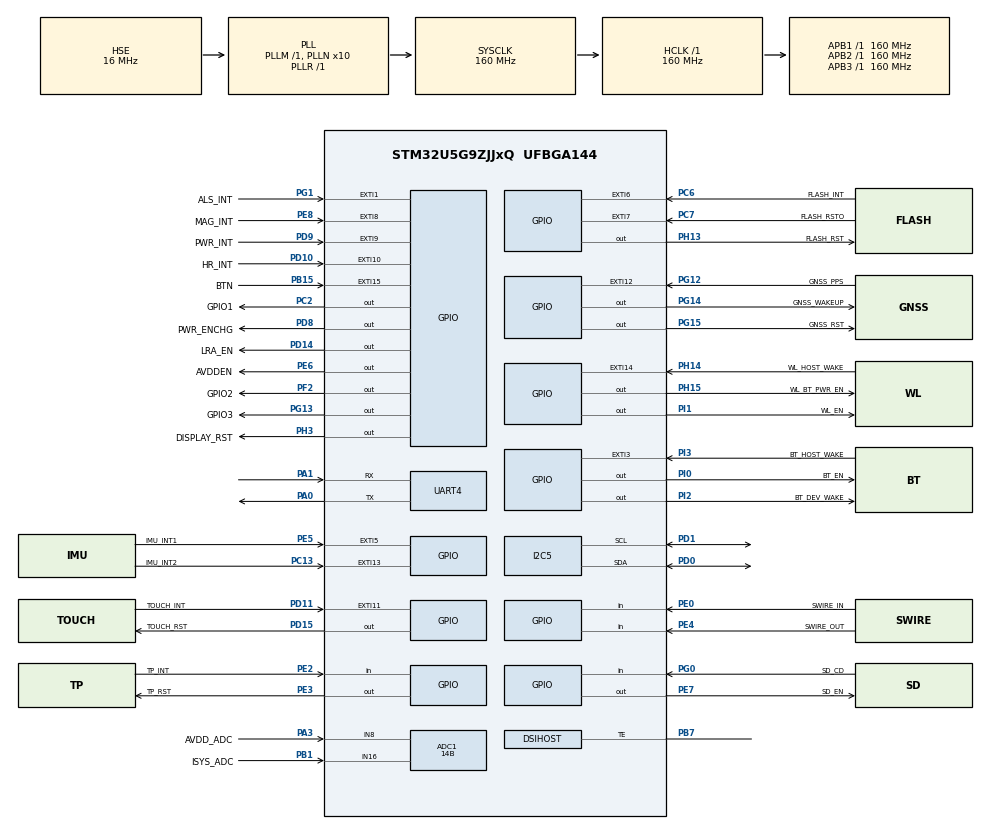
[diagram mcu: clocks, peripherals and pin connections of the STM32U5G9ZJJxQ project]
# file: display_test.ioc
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ADC1.Channel-0\#ChannelRegularConversion=ADC_CHANNEL_8
ADC1.ClockPrescaler=ADC_CLOCK_ASYNC_DIV128
ADC1.ContinuousConvMode=ENABLE
ADC1.ConversionDataManagement=ADC_CONVERSIONDATA_DMA_CIRCULAR
ADC1.DMAContinuousRequests=ENABLE
ADC1.MonitoredBy-0\#ChannelRegularConversion=__NULL
ADC1.NbrOfConversion=1
ADC1.NbrOfConversionFlag=1
ADC1.OffsetNumber-0\#ChannelRegularConversion=ADC_OFFSET_NONE
ADC1.Rank-0\#ChannelRegularConversion=1
ADC1.Resolution=ADC_RESOLUTION_14B
ADC1.SamplingTime-0\#ChannelRegularConversion=ADC_SAMPLETIME_68CYCLES
ADC1.master=1
CORTEX_M33_NS.userName=CORTEX_M33
DSIHOST.AutomaticClockLaneControl=DSI_AUTO_CLK_LANE_CTRL_DISABLE
DSIHOST.AutomaticRefresh=DSI_AR_DISABLE
DSIHOST.BTATimeout=20
DSIHOST.CommandSize=416
DSIHOST.HighSpeedReadTimeout=20
DSIHOST.HighSpeedTransmissionTimeout=20
DSIHOST.HighSpeedWriteTimeout=20
DSIHOST.LPDcsLongWrite=DSI_LP_DLW_ENABLE
DSIHOST.LPDcsShortReadNoP=DSI_LP_DSR0P_ENABLE
DSIHOST.LPDcsShortWriteNoP=DSI_LP_DSW0P_ENABLE
DSIHOST.LPDcsShortWriteOneP=DSI_LP_DSW1P_ENABLE
DSIHOST.LPGenLongWrite=DSI_LP_GLW_ENABLE
DSIHOST.LPGenShortReadNoP=DSI_LP_GSR0P_ENABLE
DSIHOST.LPGenShortReadOneP=DSI_LP_GSR1P_ENABLE
DSIHOST.LPGenShortReadTwoP=DSI_LP_GSR2P_ENABLE
DSIHOST.LPGenShortWriteNoP=DSI_LP_GSW0P_ENABLE
DSIHOST.LPGenShortWriteOneP=DSI_LP_GSW1P_ENABLE
DSIHOST.LPGenShortWriteTwoP=DSI_LP_GSW2P_ENABLE
DSIHOST.LPMaxReadPacket=DSI_LP_MRDP_ENABLE
DSIHOST.LowPowerReadTimeout=20
DSIHOST.LowPowerReceptionTimeout=20
DSIHOST.LowPowerWriteTimeout=20
DSIHOST.NumberOfLanes=DSI_ONE_DATA_LANE
DSIHOST.PHYFrequencyRange=DSI_DPHY_FRANGE_450MHZ_510MHZ
DSIHOST.PHYLowPowerOffset=PHY_LP_OFFSSET_0_CLKP
DSIHOST.PLLChargePump=DSI_PLL_CHARGE_PUMP_2000HZ_4400HZ
DSIHOST.PLLTuning=DSI_PLL_LOOP_FILTER_2000HZ_4400HZ
DSIHOST.PLLVCORange=DSI_DPHY_VCO_FRANGE_800MHZ_1GHZ
DSIHOST.StopWaitTime=10
DSIHOST.TimeoutCkdiv=1
DSI_CKN.Mode=DSIHost_Adapted_TE
DSI_CKN.PinAttribute=Free
DSI_CKN.Signal=DSIHOST_CKN
DSI_CKP.Mode=DSIHost_Adapted_TE
DSI_CKP.PinAttribute=Free
DSI_CKP.Signal=DSIHOST_CKP
DSI_D0N.Mode=DSIHost_Adapted_TE
DSI_D0N.PinAttribute=Free
DSI_D0N.Signal=DSIHOST_D0N
DSI_D0P.Mode=DSIHost_Adapted_TE
DSI_D0P.PinAttribute=Free
DSI_D0P.Signal=DSIHOST_D0P
DSI_D1N.Mode=DSIHost_Adapted_TE
DSI_D1N.PinAttribute=Free
DSI_D1N.Signal=DSIHOST_D1N
DSI_D1P.Mode=DSIHost_Adapted_TE
DSI_D1P.PinAttribute=Free
DSI_D1P.Signal=DSIHOST_D1P
GPDMA1.CIRCULARMODE_GPDMACH0=ENABLE
GPDMA1.DESTDATAWIDTH_GPDMACH0=DMA_DEST_DATAWIDTH_HALFWORD
GPDMA1.IPHANDLE_GPDMACH0-SIMPLEREQUEST_GPDMACH0=__NULL
GPDMA1.REQUEST_GPDMACH0=GPDMA1_REQUEST_ADC1
GPDMA1.SRCDATAWIDTH_GPDMACH0=DMA_SRC_DATAWIDTH_HALFWORD
GPDMA1.TRANSFERALLOCATEDPORTDEST_GPDMACH0=DMA_DEST_ALLOCATED_PORT1
I2C5.Timing=0x30909DEC
LTDC.ActiveH=416
LTDC.ActiveW=416
LTDC.Alpha0_L0=255
LTDC.Alpha_L0=255
LTDC.Blue=0
LTDC.Blue_L0=0
LTDC.FBStartAdress_L0=framebuf
LTDC.Green=0
LTDC.Green_L0=0
LTDC.HBP=0
LTDC.HFP=0
LTDC.HSync=1
LTDC.ImageHeight_L0=416
LTDC.ImageWidth_L0=416
LTDC.Layers=0
LTDC.Red=255
LTDC.Red_L0=0
LTDC.VBP=0
LTDC.VFP=0
LTDC.VSync=1
LTDC.WindowX1_L0=416
LTDC.WindowY1_L0=416
Mcu.Family=STM32U5
Mcu.Name=STM32U5G9ZJJxQ
Mcu.Package=UFBGA144
NVIC.ADC1_2_IRQn=true\:0\:0\:false\:false\:true\:true\:true\:true
NVIC.DSI_IRQn=true\:0\:0\:false\:false\:true\:true\:true\:true
NVIC.GPDMA1_Channel0_IRQn=true\:0\:0\:false\:false\:true\:false\:true\:true
NVIC.LTDC_IRQn=true\:0\:0\:false\:false\:true\:true\:true\:true
NVIC.PriorityGroup=NVIC_PRIORITYGROUP_4
NVIC.RCC_IRQn=true\:0\:0\:false\:false\:true\:true\:false\:true
NVIC.TIM6_IRQn=true\:15\:0\:false\:false\:true\:false\:true\:true
NVIC.TimeBase=TIM6_IRQn
NVIC.TimeBaseIP=TIM6
PA0.Mode=Asynchronous
PA0.PinAttribute=Free
PA0.Signal=UART4_TX
PA1.Mode=Asynchronous
PA1.PinAttribute=Free
PA1.Signal=UART4_RX
PA11.Signal=USB_OTG_HS_DM
PA12.Signal=USB_OTG_HS_DP
PA13\ (JTMS/SWDIO).Mode=Serial_Wire
PA13\ (JTMS/SWDIO).Signal=DEBUG_JTMS-SWDIO
PA14\ (JTCK/SWCLK).Mode=Serial_Wire
PA14\ (JTCK/SWCLK).Signal=DEBUG_JTCK-SWCLK
PA15\ (JTDI).Signal=USART2_RX
PA2.Mode=Clock-out-LSCO
PA2.Signal=RCC_LSCO
PA3.GPIO_Label=AVDD_ADC
PA3.Mode=IN8-Single-Ended
PA3.Signal=ADC1_IN8
PA4.GPIO_Label=ELVDD_ADC
PA4.Signal=ADC1_IN9
PA5.PinAttribute=Free
PA5.Signal=SPI1_SCK
PA6.Signal=SPI1_MISO
PA7.Signal=SPI1_MOSI
PA8.Signal=SDMMC2_D1
PB0.PinAttribute=Free
PB0.Signal=SPI1_NSS
PB1.GPIO_Label=ISYS_ADC
PB1.Mode=IN16-Single-Ended
PB1.Signal=ADC1_IN16
PB10.Signal=OCTOSPIM_P1_CLK
PB11.PinAttribute=Free
PB11.Signal=I2C2_SDA
PB13.Signal=I2C2_SCL
PB14.PinAttribute=Free
PB14.Signal=SDMMC2_D0
PB15.GPIO_Label=BTN
PB15.Signal=GPXTI15
PB2.PinAttribute=Free
PB2.Signal=OCTOSPIM_P1_DQS
PB3\ (JTDO/TRACESWO).Signal=SDMMC2_D2
PB4\ (NJTRST).PinAttribute=Free
PB4\ (NJTRST).Signal=SDMMC2_D3
PB5.Signal=OCTOSPIM_P1_NCLK
PB6.PinAttribute=Free
PB6.Signal=I2C1_SCL
PB7.Mode=DSIHost_Adapted_TE
PB7.Signal=DSIHOST_TE
PB8.Signal=SDMMC1_CKIN
PB9.Signal=I2C1_SDA
PC0.PinAttribute=Free
PC0.Signal=I2C3_SCL
PC1.PinAttribute=Free
PC1.Signal=I2C3_SDA
PC10.Signal=SDMMC1_D2
PC11.Signal=SDMMC1_D3
PC12.PinAttribute=Free
PC12.Signal=SDMMC1_CK
PC13.GPIO_Label=IMU_INT2
PC13.PinAttribute=Free
PC13.Signal=GPXTI13
PC14-OSC32_IN\ (PC14).Mode=LSE-External-Oscillator
PC14-OSC32_IN\ (PC14).Signal=RCC_OSC32_IN
PC15-OSC32_OUT\ (PC15).Mode=LSE-External-Oscillator
PC15-OSC32_OUT\ (PC15).Signal=RCC_OSC32_OUT
PC2.GPIO_Label=GPIO1
PC2.PinAttribute=Free
PC2.Signal=GPIO_Output
PC3.GPIO_Label=ELVSS_ADC
PC3.Signal=ADC1_IN4
PC6.GPIO_Label=FLASH_INT
PC6.PinAttribute=Free
PC6.Signal=GPXTI6
PC7.GPIO_Label=FLASH_RSTO
PC7.PinAttribute=Free
PC7.Signal=GPXTI7
PC8.Signal=SDMMC1_D0
PC9.PinAttribute=Free
PC9.Signal=SDMMC1_D1
PD0.Mode=I2C
PD0.Signal=I2C5_SDA
PD1.Mode=I2C
PD1.PinAttribute=Free
PD1.Signal=I2C5_SCL
PD10.GPIO_Label=HR_INT
PD10.PinAttribute=Free
PD10.Signal=GPXTI10
PD11.GPIO_Label=TOUCH_INT
PD11.PinAttribute=Free
PD11.Signal=GPXTI11
PD12.Signal=I2C4_SCL
PD13.Signal=I2C4_SDA
PD14.GPIO_Label=LRA_EN
PD14.Signal=GPIO_Output
PD15.GPIO_Label=TOUCH_RST
PD15.GPIO_ModeDefaultOutputPP=GPIO_MODE_OUTPUT_OD
PD15.GPIO_PuPd=GPIO_NOPULL
PD15.PinAttribute=Free
PD15.Signal=GPIO_Output
PD2.Signal=SDMMC1_CMD
PD3.PinAttribute=Free
PD3.Signal=USART2_CTS
PD4.Signal=USART2_RTS
PD5.Signal=USART2_TX
PD6.Signal=SDMMC2_CK
PD7.PinAttribute=Free
PD7.Signal=SDMMC2_CMD
PD8.GPIO_Label=PWR_ENCHG
PD8.Signal=GPIO_Output
PD9.GPIO_Label=PWR_INT
PD9.Signal=GPXTI9
PE0.GPIO_Label=SWIRE_IN
PE0.PinAttribute=Free
PE0.Signal=GPIO_Input
PE10.PinAttribute=Free
PE10.Signal=ADF1_SDI0
PE11.Signal=OCTOSPIM_P1_NCS
PE12.PinAttribute=Free
PE12.Signal=OCTOSPIM_P1_IO0
PE13.Signal=OCTOSPIM_P1_IO1
PE14.PinAttribute=Free
PE14.Signal=OCTOSPIM_P1_IO2
PE15.Signal=OCTOSPIM_P1_IO3
PE2.GPIO_Label=TP_INT
PE2.Signal=GPIO_Input
PE3.GPIO_Label=TP_RST
PE3.PinAttribute=Free
PE3.Signal=GPIO_Output
PE4.GPIO_Label=SWIRE_OUT
PE4.GPIO_PuPd=GPIO_PULLDOWN
PE4.Signal=GPIO_Input
PE5.GPIO_Label=IMU_INT1
PE5.Signal=GPXTI5
PE6.GPIO_Label=AVDDEN
PE6.Signal=GPIO_Output
PE7.GPIO_Label=SD_EN
PE7.Signal=GPIO_Output
PE8.GPIO_Label=MAG_INT
PE8.PinAttribute=Free
PE8.Signal=GPXTI8
PE9.PinAttribute=Free
PE9.Signal=ADF1_CCK0
PF0.PinAttribute=Free
PF0.Signal=I2C6_SDA
PF1.PinAttribute=Free
PF1.Signal=I2C6_SCL
PF2.GPIO_Label=GPIO2
PF2.PinAttribute=Free
PF2.Signal=GPIO_Output
PG0.GPIO_Label=SD_CD
PG0.PinAttribute=Free
PG0.Signal=GPIO_Input
PG1.GPIO_Label=ALS_INT
PG1.PinAttribute=Free
PG1.Signal=GPXTI1
PG10.PinAttribute=Free
PG10.Signal=USART1_RX
PG12.GPIO_Label=GNSS_PPS
PG12.PinAttribute=Free
PG12.Signal=GPXTI12
PG13.GPIO_Label=GPIO3
PG13.Signal=GPIO_Output
PG14.GPIO_Label=GNSS_WAKEUP
PG14.PinAttribute=Free
PG14.Signal=GPIO_Output
PG15.GPIO_Label=GNSS_RST
PG15.Signal=GPIO_Output
PG9.Signal=USART1_TX
PH0-OSC_IN\ (PH0).Mode=HSE-External-Oscillator
PH0-OSC_IN\ (PH0).PinAttribute=Free
PH0-OSC_IN\ (PH0).Signal=RCC_OSC_IN
PH1-OSC_OUT\ (PH1).Mode=HSE-External-Oscillator
PH1-OSC_OUT\ (PH1).PinAttribute=Free
PH1-OSC_OUT\ (PH1).Signal=RCC_OSC_OUT
PH10.PinAttribute=Free
PH10.Signal=OCTOSPIM_P2_IO5
PH11.PinAttribute=Free
PH11.Signal=OCTOSPIM_P2_IO6
PH12.PinAttribute=Free
PH12.Signal=OCTOSPIM_P2_IO7
PH13.GPIO_Label=FLASH_RST
PH13.PinAttribute=Free
PH13.Signal=GPIO_Output
PH14.GPIO_Label=WL_HOST_WAKE
PH14.PinAttribute=Free
PH14.Signal=GPXTI14
PH15.GPIO_Label=WL_BT_PWR_EN
PH15.PinAttribute=Free
PH15.Signal=GPIO_Output
PH3-BOOT0.GPIO_Label=DISPLAY_RST
PH3-BOOT0.PinAttribute=Free
PH3-BOOT0.Signal=GPIO_Output
PH9.Signal=OCTOSPIM_P2_IO4
PI0.GPIO_Label=BT_EN
PI0.PinAttribute=Free
PI0.Signal=GPIO_Output
PI1.GPIO_Label=WL_EN
PI1.PinAttribute=Free
PI1.Signal=GPIO_Output
PI2.GPIO_Label=BT_DEV_WAKE
PI2.PinAttribute=Free
PI2.Signal=GPIO_Output
PI3.GPIO_Label=BT_HOST_WAKE
PI3.PinAttribute=Free
PI3.Signal=GPXTI3
PWR.PowerMode=PWR_SMPS_SUPPLY
ProjectManager.HeapSize=0x200
ProjectManager.StackSize=0x400
ProjectManager.TargetToolchain=STM32CubeIDE
RCC.ADCFreq_Value=16000000
RCC.AHBFreq_Value=160000000
RCC.APB1Freq_Value=160000000
RCC.APB1TimFreq_Value=160000000
RCC.APB2Freq_Value=160000000
RCC.APB2TimFreq_Value=160000000
RCC.APB3Freq_Value=160000000
RCC.CortexFreq_Value=160000000
RCC.DSICLockSelection=RCC_DSICLKSOURCE_PLL3
RCC.EPOD_VALUE=16000000
RCC.EnableCSSLSE=true
RCC.EnbaleCSS=true
RCC.HCLKFreq_Value=160000000
RCC.HSE_VALUE=16000000
RCC.HSI48_VALUE=48000000
RCC.HSI_VALUE=16000000
RCC.LSCOSource1Virtual=RCC_LSCOSOURCE_LSE
RCC.LSE_Drive_Capability=RCC_LSEDRIVE_MEDIUMLOW
RCC.LSIDIV_VALUE=32000
RCC.MSIAutoCalibration=DISABLED
RCC.MSIClockRange=RCC_MSIRANGE_0
RCC.MSI_VALUE=48000000
RCC.PLL1P=5
RCC.PLL1R=1
RCC.PLL1_VCI_Range-AdvancedSettings=RCC_PLLVCIRANGE_1
RCC.PLL2FRACN=0
RCC.PLL2N=10
RCC.PLL2R=8
RCC.PLL2Source=RCC_PLLSOURCE_HSE
RCC.PLL3M=4
RCC.PLL3N=125
RCC.PLL3P=8
RCC.PLL3R=8
RCC.PLL3Source=RCC_PLLSOURCE_HSE
RCC.PLLDSIIDF=DSI_PLL_IN_DIV4
RCC.PLLDSINDIV=125
RCC.PLLDSIODF=DSI_PLL_OUT_DIV2
RCC.PLLFRACN=0
RCC.PLLN=10
RCC.PLLSourceVirtual=RCC_PLLSOURCE_HSE
RCC.RTCClockSelection=RCC_RTCCLKSOURCE_LSE
RCC.SYSCLKFreq_VALUE=160000000
RCC.SYSCLKSource=RCC_SYSCLKSOURCE_PLLCLK
RCC.VCOOutputFreq_Value=160000000
RCC.VDD_VALUE=1.8
STMicroelectronics.X-CUBE-TOUCHGFX.4.23.2.tgfx_display_interface=disp_ltdc
STMicroelectronics.X-CUBE-TOUCHGFX.4.23.2.tgfx_hardware_accelerator=dma_2d
STMicroelectronics.X-CUBE-TOUCHGFX.4.23.2.tgfx_nemap_accelerator=gpu2d_enabled
STMicroelectronics.X-CUBE-TOUCHGFX.4.23.2.tgfx_vector_rendering=Hardware
STMicroelectronics.X-CUBE-TOUCHGFX.4.23.2.tgfx_video=Disabled
STMicroelectronics.X-CUBE-TOUCHGFX.4.23.2.tgfx_vsync=vsync_ltdc
STMicroelectronics.X-CUBE-TOUCHGFX.4.23.2_IsPackSelfContextualization=true
VP_CRC_VS_CRC.Mode=CRC_Activate
VP_GPDMA1_VS_GPDMACH0.Mode=SIMPLEREQUEST_GPDMACH0
VP_ICACHE_VS_ICACHE.Mode=DirectMappedCache
VP_LPBAMQUEUE_VS_QUEUE.Mode=QUEUEMODE
VP_LPBAM_VS_SIG1.Mode=SmartRun
VP_LPBAM_VS_SIG4.Mode=LPDMA1
VP_LTDC_DSIMode.Mode=RGB888
VP_MEMORYMAP_VS_MEMORYMAP.Mode=CurAppReg
VP_PWR_VS_LPOM.Mode=PowerOptimisation
VP_PWR_VS_SECSignals.Mode=Security/Privilege
VP_PWR_Vdda.Mode=isolationVdda
VP_RTC_VS_RTC_Activate.Mode=RTC_Enabled
VP_SYS_VS_tim6.Mode=TIM6
VREF+.Mode=InternalMode
VREF+.PinAttribute=Free
VREF+.Signal=VREFBUF_OUT
board=custom

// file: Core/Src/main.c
/* USER CODE BEGIN Header */
/**
 ******************************************************************************
 * @file           : main.c
 * @brief          : Main program body
 ******************************************************************************
 * @attention
 *
 * Copyright (c) 2024 STMicroelectronics.
 * All rights reserved.
 *
 * This software is licensed under terms that can be found in the LICENSE file
 * in the root directory of this software component.
 * If no LICENSE file comes with this software, it is provided AS-IS.
 *
 ******************************************************************************
 */
/* USER CODE END Header */
#include "main.h"

/* USER CODE BEGIN Includes */
#include "image.h"
/* USER CODE END Includes */

ADC_HandleTypeDef hadc1;
DMA_NodeTypeDef Node_GPDMA1_Channel0;
DMA_QListTypeDef List_GPDMA1_Channel0;
DMA_HandleTypeDef handle_GPDMA1_Channel0;

CRC_HandleTypeDef hcrc;

DSI_HandleTypeDef hdsi;

I2C_HandleTypeDef hi2c5;

LTDC_HandleTypeDef hltdc;

RTC_HandleTypeDef hrtc;

UART_HandleTypeDef huart4;

/* USER CODE BEGIN PV */
uint32_t adc_value;
uint32_t framebuf[416*416] = {};
/* USER CODE END PV */

void SystemClock_Config(void);
static void SystemPower_Config(void);
static void MX_GPIO_Init(void);
static void MX_GPDMA1_Init(void);
static void MX_DSIHOST_DSI_Init(void);
static void MX_ICACHE_Init(void);
static void MX_LTDC_Init(void);
static void MX_I2C5_Init(void);
static void MX_RTC_Init(void);
static void MX_ADC1_Init(void);
static void MX_UART4_Init(void);
static void MX_CRC_Init(void);

/* USER CODE BEGIN 0 */

void DSI_IO_WriteCmd(uint32_t NbrParams, uint8_t *pParams)
{
	if(NbrParams <= 1)
	{
		HAL_DSI_ShortWrite(&hdsi, 0, DSI_DCS_SHORT_PKT_WRITE_P1, pParams[0], pParams[1]);
	}
	else
	{
		HAL_DSI_LongWrite(&hdsi, 0, DSI_DCS_LONG_PKT_WRITE, NbrParams, pParams[NbrParams], pParams);
	}
}

/* USER CODE END 0 */

int main(void)
{

  /* MCU Configuration--------------------------------------------------------*/

  /* Reset of all peripherals, Initializes the Flash interface and the Systick. */
  HAL_Init();

  /* Configure the system clock */
  SystemClock_Config();

  /* Configure the System Power */
  SystemPower_Config();

  /* Initialize all configured peripherals */
  MX_GPIO_Init();
  MX_GPDMA1_Init();
  MX_DSIHOST_DSI_Init();
  MX_ICACHE_Init();
  MX_LTDC_Init();
  MX_I2C5_Init();
  MX_RTC_Init();
  MX_ADC1_Init();
  MX_UART4_Init();
  MX_CRC_Init();
  /* USER CODE BEGIN 2 */

	HAL_DSI_Start(&hdsi);

	HAL_GPIO_WritePin(AVDDEN_GPIO_Port, AVDDEN_Pin, RESET);
	HAL_GPIO_WritePin(SD_EN_GPIO_Port,SD_EN_Pin, RESET);
	HAL_GPIO_WritePin(WL_BT_PWR_EN_GPIO_Port, WL_BT_PWR_EN_Pin, RESET);
	HAL_GPIO_WritePin(DISPLAY_RST_GPIO_Port, DISPLAY_RST_Pin, RESET);
	HAL_GPIO_WritePin(TOUCH_RST_GPIO_Port, TOUCH_RST_Pin, RESET);
	HAL_GPIO_WritePin(TP_RST_GPIO_Port, TP_RST_Pin, RESET);

	HAL_ADCEx_Calibration_Start(&hadc1, ADC_CALIB_OFFSET_LINEARITY, ADC_SINGLE_ENDED);
	HAL_ADC_Start_DMA(&hadc1,(uint32_t*)&adc_value, 1);
	HAL_Delay(1);

	//  uint8_t uart_data = adc_value >> 6;
	//  HAL_UART_Transmit(&huart4, &uart_data, 1, HAL_MAX_DELAY);

	// Turn on display power AVDD
	HAL_GPIO_WritePin(AVDDEN_GPIO_Port, AVDDEN_Pin, SET);

	//  HAL_GPIO_ReadPin(SWIRE_IN_GPIO_Port, SWIRE_IN_Pin);

	//	HAL_GPIO_DeInit(SWIRE_OUT_GPIO_Port, SWIRE_OUT_Pin);
	//	GPIO_InitTypeDef GPIO_InitStruct = {0};
	//	GPIO_InitStruct.Pin = SWIRE_OUT_Pin;
	//	GPIO_InitStruct.Mode = GPIO_MODE_INPUT;
	//	GPIO_InitStruct.Pull = GPIO_PULLUP;
	//	GPIO_InitStruct.Speed = GPIO_SPEED_FREQ_LOW;
	//	HAL_GPIO_Init(SWIRE_OUT_GPIO_Port, &GPIO_InitStruct);

	// Reset the display
	HAL_GPIO_WritePin(DISPLAY_RST_GPIO_Port, DISPLAY_RST_Pin, SET);
	HAL_Delay(1);
	HAL_GPIO_WritePin(DISPLAY_RST_GPIO_Port, DISPLAY_RST_Pin, RESET);
	HAL_Delay(1);
	HAL_GPIO_WritePin(DISPLAY_RST_GPIO_Port, DISPLAY_RST_Pin, SET);
	HAL_Delay(50);

	HAL_StatusTypeDef status = HAL_OK;
	UNUSED(status);

	//	float a = 0;
	//	float old_a = 0;
	//	uint32_t count = 0;

	// Exit sleep
	status = HAL_DSI_ShortWrite(&hdsi, 0, DSI_DCS_SHORT_PKT_WRITE_P0, 0x11, 0x00);
	HAL_Delay(100);

//	// ID
//	status = HAL_DSI_Read(&hdsi, 0, array, 1, DSI_DCS_SHORT_PKT_READ, 0xDB, parametersTable);
//	HAL_Delay(100);

//	// All pixels on
//	status = HAL_DSI_ShortWrite(&hdsi, 0, DSI_DCS_SHORT_PKT_WRITE_P0, 0x23, 0x00);
//	HAL_Delay(100);

	uint8_t caset_data[4] = {0x00, 0x1E, 0x01, 0xBD};
	status = HAL_DSI_LongWrite(&hdsi, 0, DSI_DCS_LONG_PKT_WRITE, 4, 0x2A, caset_data);

//	status = HAL_DSI_ShortWrite(&hdsi, 0, DSI_DCS_SHORT_PKT_WRITE_P1, 0x2A, 0x00);
	HAL_Delay(100);

	status = HAL_DSI_ShortWrite(&hdsi, 0, DSI_DCS_SHORT_PKT_WRITE_P1, 0x2B, 0x00);
	HAL_Delay(100);

//	// Write pixels
//	for (uint8_t i = 0; i< 100; i++){
////		status = HAL_DSI_ShortWrite(&hdsi, 0, DSI_DCS_SHORT_PKT_WRITE_P0, 0x3C, 0xF0);
//		status = HAL_DSI_LongWrite(&hdsi, 0, DSI_DCS_LONG_PKT_WRITE, 10, 0x3C, pixels);
//		HAL_Delay(100);
//	}

//	status = HAL_DSI_LongWrite(&hdsi, 0, DSI_DCS_LONG_PKT_WRITE, 10, 0x3C, pixels);
//	HAL_Delay(100);

	// Display on
	status = HAL_DSI_ShortWrite(&hdsi, 0, DSI_DCS_SHORT_PKT_WRITE_P0, 0x29, 0x00);
	HAL_Delay(100);

	// Inversion on
	status = HAL_DSI_ShortWrite(&hdsi, 0, DSI_DCS_SHORT_PKT_WRITE_P0, 0x21, 0x00);
	HAL_Delay(1000);

	// Set normal display mode
	status = HAL_DSI_ShortWrite(&hdsi, 0, DSI_DCS_SHORT_PKT_WRITE_P0, 0x13, 0x00);
	HAL_Delay(1000);

	// Set brightness to max
	status = HAL_DSI_ShortWrite(&hdsi, 0, DSI_DCS_SHORT_PKT_WRITE_P1, 0x51, 0xFF);
	HAL_Delay(1000);

	status = HAL_DSI_Refresh(&hdsi);
	HAL_Delay(2000);

	// Inversion off
	status = HAL_DSI_ShortWrite(&hdsi, 0, DSI_DCS_SHORT_PKT_WRITE_P0, 0x20, 0x00);
	HAL_Delay(1000);

//	status = HAL_LTDC_SetAddress(&hltdc, framebuf, 0);
//
	uint32_t *images[4] = {image1, image2, image3, image4};

	uint8_t current = 0;
  /* USER CODE END 2 */

  /* Infinite loop */
  /* USER CODE BEGIN WHILE */

	while (1)
	{

		GPIO_PinState pinState = HAL_GPIO_ReadPin(BTN_GPIO_Port, BTN_Pin);
		if (pinState == GPIO_PIN_RESET){
			current++;
			if (current >= 4){
				current = 0;
			}
		}

		for (uint32_t i = 0; i< 416*416; i++){
	//		framebuf[i] = 0xFF000000 | (i*1000);
			framebuf[i] = 0xFF000000 | (images[current][i] >> 8);
		}

		status = HAL_DSI_Refresh(&hdsi);
		HAL_Delay(500);
		//		for (uint16_t i = 0; i < 160; i++){
		//			__NOP();
		//		}
		//		count++;
		//		a = ((99999.0 * old_a) + (float) adc_value) / 100000.0;
		//		old_a = a;

		//		for (uint8_t i = 0; i < 255; i++){
		//			uint8_t data = 0;
		//			HAL_StatusTypeDef retval = HAL_I2C_Mem_Read(&hi2c5, i, 0, I2C_MEMADD_SIZE_8BIT, &data, 1, 10);
		//			if (retval != HAL_ERROR){
		//				HAL_GPIO_WritePin(GPIO1_GPIO_Port, GPIO1_Pin, RESET);
		//			}
		//		}

		HAL_Delay(10);
    /* USER CODE END WHILE */

	}
}

void SystemClock_Config(void)
{
  RCC_OscInitTypeDef RCC_OscInitStruct = {0};
  RCC_ClkInitTypeDef RCC_ClkInitStruct = {0};

  /** Configure the main internal regulator output voltage
  */
  if (HAL_PWREx_ControlVoltageScaling(PWR_REGULATOR_VOLTAGE_SCALE1) != HAL_OK)
  {
    Error_Handler();
  }

  /** Configure LSE Drive Capability
  */
  HAL_PWR_EnableBkUpAccess();
  __HAL_RCC_LSEDRIVE_CONFIG(RCC_LSEDRIVE_MEDIUMLOW);

  /** Initializes the CPU, AHB and APB buses clocks
  */
  RCC_OscInitStruct.OscillatorType = RCC_OSCILLATORTYPE_HSI|RCC_OSCILLATORTYPE_HSE
                              |RCC_OSCILLATORTYPE_LSE;
  RCC_OscInitStruct.HSEState = RCC_HSE_ON;
  RCC_OscInitStruct.LSEState = RCC_LSE_ON;
  RCC_OscInitStruct.HSIState = RCC_HSI_ON;
  RCC_OscInitStruct.HSICalibrationValue = RCC_HSICALIBRATION_DEFAULT;
  RCC_OscInitStruct.PLL.PLLState = RCC_PLL_ON;
  RCC_OscInitStruct.PLL.PLLSource = RCC_PLLSOURCE_HSE;
  RCC_OscInitStruct.PLL.PLLMBOOST = RCC_PLLMBOOST_DIV1;
  RCC_OscInitStruct.PLL.PLLM = 1;
  RCC_OscInitStruct.PLL.PLLN = 10;
  RCC_OscInitStruct.PLL.PLLP = 5;
  RCC_OscInitStruct.PLL.PLLQ = 2;
  RCC_OscInitStruct.PLL.PLLR = 1;
  RCC_OscInitStruct.PLL.PLLRGE = RCC_PLLVCIRANGE_1;
  RCC_OscInitStruct.PLL.PLLFRACN = 0;
  if (HAL_RCC_OscConfig(&RCC_OscInitStruct) != HAL_OK)
  {
    Error_Handler();
  }

  /** Initializes the CPU, AHB and APB buses clocks
  */
  RCC_ClkInitStruct.ClockType = RCC_CLOCKTYPE_HCLK|RCC_CLOCKTYPE_SYSCLK
                              |RCC_CLOCKTYPE_PCLK1|RCC_CLOCKTYPE_PCLK2
                              |RCC_CLOCKTYPE_PCLK3;
  RCC_ClkInitStruct.SYSCLKSource = RCC_SYSCLKSOURCE_PLLCLK;
  RCC_ClkInitStruct.AHBCLKDivider = RCC_SYSCLK_DIV1;
  RCC_ClkInitStruct.APB1CLKDivider = RCC_HCLK_DIV1;
  RCC_ClkInitStruct.APB2CLKDivider = RCC_HCLK_DIV1;
  RCC_ClkInitStruct.APB3CLKDivider = RCC_HCLK_DIV1;

  if (HAL_RCC_ClockConfig(&RCC_ClkInitStruct, FLASH_LATENCY_4) != HAL_OK)
  {
    Error_Handler();
  }

  /** LSCO configuration
  */
  HAL_RCCEx_EnableLSCO(RCC_LSCOSOURCE_LSE);

  /** Enables the Clock Security System
  */
  HAL_RCC_EnableCSS();

  /** Enables the Clock Security System
  */
  HAL_RCCEx_EnableLSECSS();
}

/**
  * @brief Power Configuration
  * @retval None
  */
static void SystemPower_Config(void)
{
  HAL_PWREx_EnableVddIO2();

  /*
   * Switch to SMPS regulator instead of LDO
   */
  if (HAL_PWREx_ConfigSupply(PWR_SMPS_SUPPLY) != HAL_OK)
  {
    Error_Handler();
  }
}

static void MX_ADC1_Init(void)
{

  ADC_ChannelConfTypeDef sConfig = {0};

  /** Common config
  */
  hadc1.Instance = ADC1;
  hadc1.Init.ClockPrescaler = ADC_CLOCK_ASYNC_DIV128;
  hadc1.Init.Resolution = ADC_RESOLUTION_14B;
  hadc1.Init.GainCompensation = 0;
  hadc1.Init.DataAlign = ADC_DATAALIGN_RIGHT;
  hadc1.Init.ScanConvMode = ADC_SCAN_DISABLE;
  hadc1.Init.EOCSelection = ADC_EOC_SINGLE_CONV;
  hadc1.Init.LowPowerAutoWait = DISABLE;
  hadc1.Init.ContinuousConvMode = ENABLE;
  hadc1.Init.NbrOfConversion = 1;
  hadc1.Init.DiscontinuousConvMode = DISABLE;
  hadc1.Init.ExternalTrigConv = ADC_SOFTWARE_START;
  hadc1.Init.ExternalTrigConvEdge = ADC_EXTERNALTRIGCONVEDGE_NONE;
  hadc1.Init.DMAContinuousRequests = ENABLE;
  hadc1.Init.TriggerFrequencyMode = ADC_TRIGGER_FREQ_HIGH;
  hadc1.Init.Overrun = ADC_OVR_DATA_PRESERVED;
  hadc1.Init.LeftBitShift = ADC_LEFTBITSHIFT_NONE;
  hadc1.Init.ConversionDataManagement = ADC_CONVERSIONDATA_DMA_CIRCULAR;
  hadc1.Init.OversamplingMode = DISABLE;
  if (HAL_ADC_Init(&hadc1) != HAL_OK)
  {
    Error_Handler();
  }

  /** Configure Regular Channel
  */
  sConfig.Channel = ADC_CHANNEL_8;
  sConfig.Rank = ADC_REGULAR_RANK_1;
  sConfig.SamplingTime = ADC_SAMPLETIME_68CYCLES;
  sConfig.SingleDiff = ADC_SINGLE_ENDED;
  sConfig.OffsetNumber = ADC_OFFSET_NONE;
  sConfig.Offset = 0;
  if (HAL_ADC_ConfigChannel(&hadc1, &sConfig) != HAL_OK)
  {
    Error_Handler();
  }

}

static void MX_CRC_Init(void)
{

  hcrc.Instance = CRC;
  hcrc.Init.DefaultPolynomialUse = DEFAULT_POLYNOMIAL_ENABLE;
  hcrc.Init.DefaultInitValueUse = DEFAULT_INIT_VALUE_ENABLE;
  hcrc.Init.InputDataInversionMode = CRC_INPUTDATA_INVERSION_NONE;
  hcrc.Init.OutputDataInversionMode = CRC_OUTPUTDATA_INVERSION_DISABLE;
  hcrc.InputDataFormat = CRC_INPUTDATA_FORMAT_BYTES;
  if (HAL_CRC_Init(&hcrc) != HAL_OK)
  {
    Error_Handler();
  }

}

static void MX_DSIHOST_DSI_Init(void)
{

  DSI_PLLInitTypeDef PLLInit = {0};
  DSI_HOST_TimeoutTypeDef HostTimeouts = {0};
  DSI_PHY_TimerTypeDef PhyTimings = {0};
  DSI_LPCmdTypeDef LPCmd = {0};
  DSI_CmdCfgTypeDef CmdCfg = {0};

  hdsi.Instance = DSI;
  hdsi.Init.AutomaticClockLaneControl = DSI_AUTO_CLK_LANE_CTRL_DISABLE;
  hdsi.Init.TXEscapeCkdiv = 4;
  hdsi.Init.NumberOfLanes = DSI_ONE_DATA_LANE;
  hdsi.Init.PHYFrequencyRange = DSI_DPHY_FRANGE_450MHZ_510MHZ;
  hdsi.Init.PHYLowPowerOffset = PHY_LP_OFFSSET_0_CLKP;
  PLLInit.PLLNDIV = 125;
  PLLInit.PLLIDF = DSI_PLL_IN_DIV4;
  PLLInit.PLLODF = DSI_PLL_OUT_DIV2;
  PLLInit.PLLVCORange = DSI_DPHY_VCO_FRANGE_800MHZ_1GHZ;
  PLLInit.PLLChargePump = DSI_PLL_CHARGE_PUMP_2000HZ_4400HZ;
  PLLInit.PLLTuning = DSI_PLL_LOOP_FILTER_2000HZ_4400HZ;
  if (HAL_DSI_Init(&hdsi, &PLLInit) != HAL_OK)
  {
    Error_Handler();
  }
  HostTimeouts.TimeoutCkdiv = 1;
  HostTimeouts.HighSpeedTransmissionTimeout = 20;
  HostTimeouts.LowPowerReceptionTimeout = 20;
  HostTimeouts.HighSpeedReadTimeout = 20;
  HostTimeouts.LowPowerReadTimeout = 20;
  HostTimeouts.HighSpeedWriteTimeout = 20;
  HostTimeouts.HighSpeedWritePrespMode = DSI_HS_PM_DISABLE;
  HostTimeouts.LowPowerWriteTimeout = 20;
  HostTimeouts.BTATimeout = 20;
  if (HAL_DSI_ConfigHostTimeouts(&hdsi, &HostTimeouts) != HAL_OK)
  {
    Error_Handler();
  }
  PhyTimings.ClockLaneHS2LPTime = 10;
  PhyTimings.ClockLaneLP2HSTime = 0;
  PhyTimings.DataLaneHS2LPTime = 0;
  PhyTimings.DataLaneLP2HSTime = 0;
  PhyTimings.DataLaneMaxReadTime = 0;
  PhyTimings.StopWaitTime = 10;
  if (HAL_DSI_ConfigPhyTimer(&hdsi, &PhyTimings) != HAL_OK)
  {
    Error_Handler();
  }
  if (HAL_DSI_ConfigFlowControl(&hdsi, DSI_FLOW_CONTROL_BTA) != HAL_OK)
  {
    Error_Handler();
  }
  if (HAL_DSI_ConfigErrorMonitor(&hdsi, HAL_DSI_ERROR_NONE) != HAL_OK)
  {
    Error_Handler();
  }
  LPCmd.LPGenShortWriteNoP = DSI_LP_GSW0P_ENABLE;
  LPCmd.LPGenShortWriteOneP = DSI_LP_GSW1P_ENABLE;
  LPCmd.LPGenShortWriteTwoP = DSI_LP_GSW2P_ENABLE;
  LPCmd.LPGenShortReadNoP = DSI_LP_GSR0P_ENABLE;
  LPCmd.LPGenShortReadOneP = DSI_LP_GSR1P_ENABLE;
  LPCmd.LPGenShortReadTwoP = DSI_LP_GSR2P_ENABLE;
  LPCmd.LPGenLongWrite = DSI_LP_GLW_ENABLE;
  LPCmd.LPDcsShortWriteNoP = DSI_LP_DSW0P_ENABLE;
  LPCmd.LPDcsShortWriteOneP = DSI_LP_DSW1P_ENABLE;
  LPCmd.LPDcsShortReadNoP = DSI_LP_DSR0P_ENABLE;
  LPCmd.LPDcsLongWrite = DSI_LP_DLW_ENABLE;
  LPCmd.LPMaxReadPacket = DSI_LP_MRDP_ENABLE;
  LPCmd.AcknowledgeRequest = DSI_ACKNOWLEDGE_DISABLE;
  if (HAL_DSI_ConfigCommand(&hdsi, &LPCmd) != HAL_OK)
  {
    Error_Handler();
  }
  CmdCfg.ColorCoding = DSI_RGB888;
  CmdCfg.CommandSize = 416;
  CmdCfg.TearingEffectSource = DSI_TE_EXTERNAL;
  CmdCfg.TearingEffectPolarity = DSI_TE_RISING_EDGE;
  CmdCfg.HSPolarity = DSI_HSYNC_ACTIVE_LOW;
  CmdCfg.VSPolarity = DSI_VSYNC_ACTIVE_LOW;
  CmdCfg.DEPolarity = DSI_DATA_ENABLE_ACTIVE_HIGH;
  CmdCfg.VSyncPol = DSI_VSYNC_FALLING;
  CmdCfg.AutomaticRefresh = DSI_AR_DISABLE;
  CmdCfg.TEAcknowledgeRequest = DSI_TE_ACKNOWLEDGE_DISABLE;
  if (HAL_DSI_ConfigAdaptedCommandMode(&hdsi, &CmdCfg) != HAL_OK)
  {
    Error_Handler();
  }
  if (HAL_DSI_SetGenericVCID(&hdsi, 0) != HAL_OK)
  {
    Error_Handler();
  }

}

static void MX_GPDMA1_Init(void)
{

  /* Peripheral clock enable */
  __HAL_RCC_GPDMA1_CLK_ENABLE();

  /* GPDMA1 interrupt Init */
    HAL_NVIC_SetPriority(GPDMA1_Channel0_IRQn, 0, 0);
    HAL_NVIC_EnableIRQ(GPDMA1_Channel0_IRQn);

}

static void MX_I2C5_Init(void)
{

  hi2c5.Instance = I2C5;
  hi2c5.Init.Timing = 0x30909DEC;
  hi2c5.Init.OwnAddress1 = 0;
  hi2c5.Init.AddressingMode = I2C_ADDRESSINGMODE_7BIT;
  hi2c5.Init.DualAddressMode = I2C_DUALADDRESS_DISABLE;
  hi2c5.Init.OwnAddress2 = 0;
  hi2c5.Init.OwnAddress2Masks = I2C_OA2_NOMASK;
  hi2c5.Init.GeneralCallMode = I2C_GENERALCALL_DISABLE;
  hi2c5.Init.NoStretchMode = I2C_NOSTRETCH_DISABLE;
  if (HAL_I2C_Init(&hi2c5) != HAL_OK)
  {
    Error_Handler();
  }

  /** Configure Analogue filter
  */
  if (HAL_I2CEx_ConfigAnalogFilter(&hi2c5, I2C_ANALOGFILTER_ENABLE) != HAL_OK)
  {
    Error_Handler();
  }

  /** Configure Digital filter
  */
  if (HAL_I2CEx_ConfigDigitalFilter(&hi2c5, 0) != HAL_OK)
  {
    Error_Handler();
  }

}

static void MX_ICACHE_Init(void)
{

  /** Enable instruction cache in 1-way (direct mapped cache)
  */
  if (HAL_ICACHE_ConfigAssociativityMode(ICACHE_1WAY) != HAL_OK)
  {
    Error_Handler();
  }
  if (HAL_ICACHE_Enable() != HAL_OK)
  {
    Error_Handler();
  }

}

static void MX_LTDC_Init(void)
{

  LTDC_LayerCfgTypeDef pLayerCfg = {0};

  hltdc.Instance = LTDC;
  hltdc.Init.HSPolarity = LTDC_HSPOLARITY_AL;
  hltdc.Init.VSPolarity = LTDC_VSPOLARITY_AL;
  hltdc.Init.DEPolarity = LTDC_DEPOLARITY_AL;
  hltdc.Init.PCPolarity = LTDC_PCPOLARITY_IPC;
  hltdc.Init.HorizontalSync = 0;
  hltdc.Init.VerticalSync = 0;
  hltdc.Init.AccumulatedHBP = 0;
  hltdc.Init.AccumulatedVBP = 0;
  hltdc.Init.AccumulatedActiveW = 416;
  hltdc.Init.AccumulatedActiveH = 416;
  hltdc.Init.TotalWidth = 416;
  hltdc.Init.TotalHeigh = 416;
  hltdc.Init.Backcolor.Blue = 0;
  hltdc.Init.Backcolor.Green = 0;
  hltdc.Init.Backcolor.Red = 255;
  if (HAL_LTDC_Init(&hltdc) != HAL_OK)
  {
    Error_Handler();
  }
  pLayerCfg.WindowX0 = 0;
  pLayerCfg.WindowX1 = 416;
  pLayerCfg.WindowY0 = 0;
  pLayerCfg.WindowY1 = 416;
  pLayerCfg.PixelFormat = LTDC_PIXEL_FORMAT_ARGB8888;
  pLayerCfg.Alpha = 255;
  pLayerCfg.Alpha0 = 255;
  pLayerCfg.BlendingFactor1 = LTDC_BLENDING_FACTOR1_CA;
  pLayerCfg.BlendingFactor2 = LTDC_BLENDING_FACTOR2_CA;
  pLayerCfg.FBStartAdress = framebuf;
  pLayerCfg.ImageWidth = 416;
  pLayerCfg.ImageHeight = 416;
  pLayerCfg.Backcolor.Blue = 0;
  pLayerCfg.Backcolor.Green = 0;
  pLayerCfg.Backcolor.Red = 0;
  if (HAL_LTDC_ConfigLayer(&hltdc, &pLayerCfg, 0) != HAL_OK)
  {
    Error_Handler();
  }

}

static void MX_RTC_Init(void)
{

  RTC_PrivilegeStateTypeDef privilegeState = {0};

  /** Initialize RTC Only
  */
  hrtc.Instance = RTC;
  hrtc.Init.HourFormat = RTC_HOURFORMAT_24;
  hrtc.Init.AsynchPrediv = 127;
  hrtc.Init.SynchPrediv = 255;
  hrtc.Init.OutPut = RTC_OUTPUT_DISABLE;
  hrtc.Init.OutPutRemap = RTC_OUTPUT_REMAP_NONE;
  hrtc.Init.OutPutPolarity = RTC_OUTPUT_POLARITY_HIGH;
  hrtc.Init.OutPutType = RTC_OUTPUT_TYPE_OPENDRAIN;
  hrtc.Init.OutPutPullUp = RTC_OUTPUT_PULLUP_NONE;
  hrtc.Init.BinMode = RTC_BINARY_NONE;
  if (HAL_RTC_Init(&hrtc) != HAL_OK)
  {
    Error_Handler();
  }
  privilegeState.rtcPrivilegeFull = RTC_PRIVILEGE_FULL_NO;
  privilegeState.backupRegisterPrivZone = RTC_PRIVILEGE_BKUP_ZONE_NONE;
  privilegeState.backupRegisterStartZone2 = RTC_BKP_DR0;
  privilegeState.backupRegisterStartZone3 = RTC_BKP_DR0;
  if (HAL_RTCEx_PrivilegeModeSet(&hrtc, &privilegeState) != HAL_OK)
  {
    Error_Handler();
  }

}

static void MX_UART4_Init(void)
{

  huart4.Instance = UART4;
  huart4.Init.BaudRate = 115200;
  huart4.Init.WordLength = UART_WORDLENGTH_8B;
  huart4.Init.StopBits = UART_STOPBITS_1;
  huart4.Init.Parity = UART_PARITY_NONE;
  huart4.Init.Mode = UART_MODE_TX_RX;
  huart4.Init.HwFlowCtl = UART_HWCONTROL_NONE;
  huart4.Init.OverSampling = UART_OVERSAMPLING_16;
  huart4.Init.OneBitSampling = UART_ONE_BIT_SAMPLE_DISABLE;
  huart4.Init.ClockPrescaler = UART_PRESCALER_DIV1;
  huart4.AdvancedInit.AdvFeatureInit = UART_ADVFEATURE_NO_INIT;
  if (HAL_UART_Init(&huart4) != HAL_OK)
  {
    Error_Handler();
  }
  if (HAL_UARTEx_SetTxFifoThreshold(&huart4, UART_TXFIFO_THRESHOLD_1_8) != HAL_OK)
  {
    Error_Handler();
  }
  if (HAL_UARTEx_SetRxFifoThreshold(&huart4, UART_RXFIFO_THRESHOLD_1_8) != HAL_OK)
  {
    Error_Handler();
  }
  if (HAL_UARTEx_DisableFifoMode(&huart4) != HAL_OK)
  {
    Error_Handler();
  }

}

static void MX_GPIO_Init(void)
{
  GPIO_InitTypeDef GPIO_InitStruct = {0};

  /* GPIO Ports Clock Enable */
  __HAL_RCC_GPIOB_CLK_ENABLE();
  __HAL_RCC_GPIOH_CLK_ENABLE();
  __HAL_RCC_GPIOG_CLK_ENABLE();
  __HAL_RCC_GPIOD_CLK_ENABLE();
  __HAL_RCC_GPIOC_CLK_ENABLE();
  __HAL_RCC_GPIOE_CLK_ENABLE();
  __HAL_RCC_GPIOA_CLK_ENABLE();
  __HAL_RCC_GPIOF_CLK_ENABLE();
  __HAL_RCC_GPIOI_CLK_ENABLE();

  /*Configure GPIO pin Output Level */
  HAL_GPIO_WritePin(GPIOH, DISPLAY_RST_Pin|WL_BT_PWR_EN_Pin|FLASH_RST_Pin, GPIO_PIN_RESET);

  /*Configure GPIO pin Output Level */
  HAL_GPIO_WritePin(GPIOG, GNSS_WAKEUP_Pin|GNSS_RST_Pin|GPIO3_Pin, GPIO_PIN_RESET);

  /*Configure GPIO pin Output Level */
  HAL_GPIO_WritePin(GPIOE, TP_RST_Pin|AVDDEN_Pin|SD_EN_Pin, GPIO_PIN_RESET);

  /*Configure GPIO pin Output Level */
  HAL_GPIO_WritePin(GPIOI, BT_DEV_WAKE_Pin|BT_EN_Pin|WL_EN_Pin, GPIO_PIN_RESET);

  /*Configure GPIO pin Output Level */
  HAL_GPIO_WritePin(GPIO2_GPIO_Port, GPIO2_Pin, GPIO_PIN_RESET);

  /*Configure GPIO pin Output Level */
  HAL_GPIO_WritePin(GPIO1_GPIO_Port, GPIO1_Pin, GPIO_PIN_RESET);

  /*Configure GPIO pin Output Level */
  HAL_GPIO_WritePin(GPIOD, TOUCH_RST_Pin|LRA_EN_Pin|PWR_ENCHG_Pin, GPIO_PIN_RESET);

  /*Configure GPIO pins : PB9 PB6 */
  GPIO_InitStruct.Pin = GPIO_PIN_9|GPIO_PIN_6;
  GPIO_InitStruct.Mode = GPIO_MODE_AF_OD;
  GPIO_InitStruct.Pull = GPIO_NOPULL;
  GPIO_InitStruct.Speed = GPIO_SPEED_FREQ_LOW;
  GPIO_InitStruct.Alternate = GPIO_AF4_I2C1;
  HAL_GPIO_Init(GPIOB, &GPIO_InitStruct);

  /*Configure GPIO pins : DISPLAY_RST_Pin WL_BT_PWR_EN_Pin FLASH_RST_Pin */
  GPIO_InitStruct.Pin = DISPLAY_RST_Pin|WL_BT_PWR_EN_Pin|FLASH_RST_Pin;
  GPIO_InitStruct.Mode = GPIO_MODE_OUTPUT_PP;
  GPIO_InitStruct.Pull = GPIO_NOPULL;
  GPIO_InitStruct.Speed = GPIO_SPEED_FREQ_LOW;
  HAL_GPIO_Init(GPIOH, &GPIO_InitStruct);

  /*Configure GPIO pins : PB4 PB3 PB14 */
  GPIO_InitStruct.Pin = GPIO_PIN_4|GPIO_PIN_3|GPIO_PIN_14;
  GPIO_InitStruct.Mode = GPIO_MODE_AF_PP;
  GPIO_InitStruct.Pull = GPIO_NOPULL;
  GPIO_InitStruct.Speed = GPIO_SPEED_FREQ_HIGH;
  GPIO_InitStruct.Alternate = GPIO_AF12_SDMMC2;
  HAL_GPIO_Init(GPIOB, &GPIO_InitStruct);

  /*Configure GPIO pins : GNSS_WAKEUP_Pin GNSS_RST_Pin GPIO3_Pin */
  GPIO_InitStruct.Pin = GNSS_WAKEUP_Pin|GNSS_RST_Pin|GPIO3_Pin;
  GPIO_InitStruct.Mode = GPIO_MODE_OUTPUT_PP;
  GPIO_InitStruct.Pull = GPIO_NOPULL;
  GPIO_InitStruct.Speed = GPIO_SPEED_FREQ_LOW;
  HAL_GPIO_Init(GPIOG, &GPIO_InitStruct);

  /*Configure GPIO pins : GNSS_PPS_Pin ALS_INT_Pin */
  GPIO_InitStruct.Pin = GNSS_PPS_Pin|ALS_INT_Pin;
  GPIO_InitStruct.Mode = GPIO_MODE_IT_RISING;
  GPIO_InitStruct.Pull = GPIO_NOPULL;
  HAL_GPIO_Init(GPIOG, &GPIO_InitStruct);

  /*Configure GPIO pins : PG10 PG9 */
  GPIO_InitStruct.Pin = GPIO_PIN_10|GPIO_PIN_9;
  GPIO_InitStruct.Mode = GPIO_MODE_AF_PP;
  GPIO_InitStruct.Pull = GPIO_NOPULL;
  GPIO_InitStruct.Speed = GPIO_SPEED_FREQ_LOW;
  GPIO_InitStruct.Alternate = GPIO_AF7_USART1;
  HAL_GPIO_Init(GPIOG, &GPIO_InitStruct);

  /*Configure GPIO pins : PD7 PD6 */
  GPIO_InitStruct.Pin = GPIO_PIN_7|GPIO_PIN_6;
  GPIO_InitStruct.Mode = GPIO_MODE_AF_PP;
  GPIO_InitStruct.Pull = GPIO_NOPULL;
  GPIO_InitStruct.Speed = GPIO_SPEED_FREQ_HIGH;
  GPIO_InitStruct.Alternate = GPIO_AF11_SDMMC2;
  HAL_GPIO_Init(GPIOD, &GPIO_InitStruct);

  /*Configure GPIO pins : PD3 PD5 PD4 */
  GPIO_InitStruct.Pin = GPIO_PIN_3|GPIO_PIN_5|GPIO_PIN_4;
  GPIO_InitStruct.Mode = GPIO_MODE_AF_PP;
  GPIO_InitStruct.Pull = GPIO_NOPULL;
  GPIO_InitStruct.Speed = GPIO_SPEED_FREQ_LOW;
  GPIO_InitStruct.Alternate = GPIO_AF7_USART2;
  HAL_GPIO_Init(GPIOD, &GPIO_InitStruct);

  /*Configure GPIO pins : PC12 PC10 PC11 PC8
                           PC9 */
  GPIO_InitStruct.Pin = GPIO_PIN_12|GPIO_PIN_10|GPIO_PIN_11|GPIO_PIN_8
                          |GPIO_PIN_9;
  GPIO_InitStruct.Mode = GPIO_MODE_AF_PP;
  GPIO_InitStruct.Pull = GPIO_NOPULL;
  GPIO_InitStruct.Speed = GPIO_SPEED_FREQ_HIGH;
  GPIO_InitStruct.Alternate = GPIO_AF12_SDMMC1;
  HAL_GPIO_Init(GPIOC, &GPIO_InitStruct);

  /*Configure GPIO pins : TP_INT_Pin SWIRE_IN_Pin */
  GPIO_InitStruct.Pin = TP_INT_Pin|SWIRE_IN_Pin;
  GPIO_InitStruct.Mode = GPIO_MODE_INPUT;
  GPIO_InitStruct.Pull = GPIO_NOPULL;
  HAL_GPIO_Init(GPIOE, &GPIO_InitStruct);

  /*Configure GPIO pins : TP_RST_Pin AVDDEN_Pin SD_EN_Pin */
  GPIO_InitStruct.Pin = TP_RST_Pin|AVDDEN_Pin|SD_EN_Pin;
  GPIO_InitStruct.Mode = GPIO_MODE_OUTPUT_PP;
  GPIO_InitStruct.Pull = GPIO_NOPULL;
  GPIO_InitStruct.Speed = GPIO_SPEED_FREQ_LOW;
  HAL_GPIO_Init(GPIOE, &GPIO_InitStruct);

  /*Configure GPIO pin : PB8 */
  GPIO_InitStruct.Pin = GPIO_PIN_8;
  GPIO_InitStruct.Mode = GPIO_MODE_AF_PP;
  GPIO_InitStruct.Pull = GPIO_NOPULL;
  GPIO_InitStruct.Speed = GPIO_SPEED_FREQ_HIGH;
  GPIO_InitStruct.Alternate = GPIO_AF8_SDMMC1;
  HAL_GPIO_Init(GPIOB, &GPIO_InitStruct);

  /*Configure GPIO pin : PB5 */
  GPIO_InitStruct.Pin = GPIO_PIN_5;
  GPIO_InitStruct.Mode = GPIO_MODE_AF_PP;
  GPIO_InitStruct.Pull = GPIO_NOPULL;
  GPIO_InitStruct.Speed = GPIO_SPEED_FREQ_VERY_HIGH;
  GPIO_InitStruct.Alternate = GPIO_AF3_OCTOSPI1;
  HAL_GPIO_Init(GPIOB, &GPIO_InitStruct);

  /*Configure GPIO pin : PD2 */
  GPIO_InitStruct.Pin = GPIO_PIN_2;
  GPIO_InitStruct.Mode = GPIO_MODE_AF_PP;
  GPIO_InitStruct.Pull = GPIO_NOPULL;
  GPIO_InitStruct.Speed = GPIO_SPEED_FREQ_HIGH;
  GPIO_InitStruct.Alternate = GPIO_AF12_SDMMC1;
  HAL_GPIO_Init(GPIOD, &GPIO_InitStruct);

  /*Configure GPIO pin : SWIRE_OUT_Pin */
  GPIO_InitStruct.Pin = SWIRE_OUT_Pin;
  GPIO_InitStruct.Mode = GPIO_MODE_INPUT;
  GPIO_InitStruct.Pull = GPIO_PULLDOWN;
  HAL_GPIO_Init(SWIRE_OUT_GPIO_Port, &GPIO_InitStruct);

  /*Configure GPIO pins : IMU_INT1_Pin MAG_INT_Pin */
  GPIO_InitStruct.Pin = IMU_INT1_Pin|MAG_INT_Pin;
  GPIO_InitStruct.Mode = GPIO_MODE_IT_RISING;
  GPIO_InitStruct.Pull = GPIO_NOPULL;
  HAL_GPIO_Init(GPIOE, &GPIO_InitStruct);

  /*Configure GPIO pin : PA15 */
  GPIO_InitStruct.Pin = GPIO_PIN_15;
  GPIO_InitStruct.Mode = GPIO_MODE_AF_PP;
  GPIO_InitStruct.Pull = GPIO_NOPULL;
  GPIO_InitStruct.Speed = GPIO_SPEED_FREQ_LOW;
  GPIO_InitStruct.Alternate = GPIO_AF3_USART2;
  HAL_GPIO_Init(GPIOA, &GPIO_InitStruct);

  /*Configure GPIO pins : PA12 PA11 */
  GPIO_InitStruct.Pin = GPIO_PIN_12|GPIO_PIN_11;
  GPIO_InitStruct.Mode = GPIO_MODE_AF_PP;
  GPIO_InitStruct.Pull = GPIO_NOPULL;
  GPIO_InitStruct.Speed = GPIO_SPEED_FREQ_LOW;
  HAL_GPIO_Init(GPIOA, &GPIO_InitStruct);

  /*Configure GPIO pin : PA8 */
  GPIO_InitStruct.Pin = GPIO_PIN_8;
  GPIO_InitStruct.Mode = GPIO_MODE_AF_PP;
  GPIO_InitStruct.Pull = GPIO_NOPULL;
  GPIO_InitStruct.Speed = GPIO_SPEED_FREQ_HIGH;
  GPIO_InitStruct.Alternate = GPIO_AF8_SDMMC2;
  HAL_GPIO_Init(GPIOA, &GPIO_InitStruct);

  /*Configure GPIO pins : IMU_INT2_Pin FLASH_RSTO_Pin FLASH_INT_Pin */
  GPIO_InitStruct.Pin = IMU_INT2_Pin|FLASH_RSTO_Pin|FLASH_INT_Pin;
  GPIO_InitStruct.Mode = GPIO_MODE_IT_RISING;
  GPIO_InitStruct.Pull = GPIO_NOPULL;
  HAL_GPIO_Init(GPIOC, &GPIO_InitStruct);

  /*Configure GPIO pins : PF0 PF1 */
  GPIO_InitStruct.Pin = GPIO_PIN_0|GPIO_PIN_1;
  GPIO_InitStruct.Mode = GPIO_MODE_AF_OD;
  GPIO_InitStruct.Pull = GPIO_NOPULL;
  GPIO_InitStruct.Speed = GPIO_SPEED_FREQ_LOW;
  GPIO_InitStruct.Alternate = GPIO_AF2_I2C6;
  HAL_GPIO_Init(GPIOF, &GPIO_InitStruct);

  /*Configure GPIO pins : BT_DEV_WAKE_Pin BT_EN_Pin WL_EN_Pin */
  GPIO_InitStruct.Pin = BT_DEV_WAKE_Pin|BT_EN_Pin|WL_EN_Pin;
  GPIO_InitStruct.Mode = GPIO_MODE_OUTPUT_PP;
  GPIO_InitStruct.Pull = GPIO_NOPULL;
  GPIO_InitStruct.Speed = GPIO_SPEED_FREQ_LOW;
  HAL_GPIO_Init(GPIOI, &GPIO_InitStruct);

  /*Configure GPIO pin : BT_HOST_WAKE_Pin */
  GPIO_InitStruct.Pin = BT_HOST_WAKE_Pin;
  GPIO_InitStruct.Mode = GPIO_MODE_IT_RISING;
  GPIO_InitStruct.Pull = GPIO_NOPULL;
  HAL_GPIO_Init(BT_HOST_WAKE_GPIO_Port, &GPIO_InitStruct);

  /*Configure GPIO pin : GPIO2_Pin */
  GPIO_InitStruct.Pin = GPIO2_Pin;
  GPIO_InitStruct.Mode = GPIO_MODE_OUTPUT_PP;
  GPIO_InitStruct.Pull = GPIO_NOPULL;
  GPIO_InitStruct.Speed = GPIO_SPEED_FREQ_LOW;
  HAL_GPIO_Init(GPIO2_GPIO_Port, &GPIO_InitStruct);

  /*Configure GPIO pin : GPIO1_Pin */
  GPIO_InitStruct.Pin = GPIO1_Pin;
  GPIO_InitStruct.Mode = GPIO_MODE_OUTPUT_PP;
  GPIO_InitStruct.Pull = GPIO_NOPULL;
  GPIO_InitStruct.Speed = GPIO_SPEED_FREQ_LOW;
  HAL_GPIO_Init(GPIO1_GPIO_Port, &GPIO_InitStruct);

  /*Configure GPIO pin : WL_HOST_WAKE_Pin */
  GPIO_InitStruct.Pin = WL_HOST_WAKE_Pin;
  GPIO_InitStruct.Mode = GPIO_MODE_IT_RISING;
  GPIO_InitStruct.Pull = GPIO_NOPULL;
  HAL_GPIO_Init(WL_HOST_WAKE_GPIO_Port, &GPIO_InitStruct);

  /*Configure GPIO pins : PB2 PB10 */
  GPIO_InitStruct.Pin = GPIO_PIN_2|GPIO_PIN_10;
  GPIO_InitStruct.Mode = GPIO_MODE_AF_PP;
  GPIO_InitStruct.Pull = GPIO_NOPULL;
  GPIO_InitStruct.Speed = GPIO_SPEED_FREQ_VERY_HIGH;
  GPIO_InitStruct.Alternate = GPIO_AF10_OCTOSPI1;
  HAL_GPIO_Init(GPIOB, &GPIO_InitStruct);

  /*Configure GPIO pin : TOUCH_RST_Pin */
  GPIO_InitStruct.Pin = TOUCH_RST_Pin;
  GPIO_InitStruct.Mode = GPIO_MODE_OUTPUT_OD;
  GPIO_InitStruct.Pull = GPIO_NOPULL;
  GPIO_InitStruct.Speed = GPIO_SPEED_FREQ_LOW;
  HAL_GPIO_Init(TOUCH_RST_GPIO_Port, &GPIO_InitStruct);

  /*Configure GPIO pins : PH12 PH11 PH10 PH9 */
  GPIO_InitStruct.Pin = GPIO_PIN_12|GPIO_PIN_11|GPIO_PIN_10|GPIO_PIN_9;
  GPIO_InitStruct.Mode = GPIO_MODE_AF_PP;
  GPIO_InitStruct.Pull = GPIO_NOPULL;
  GPIO_InitStruct.Speed = GPIO_SPEED_FREQ_VERY_HIGH;
  GPIO_InitStruct.Alternate = GPIO_AF5_OCTOSPI2;
  HAL_GPIO_Init(GPIOH, &GPIO_InitStruct);

  /*Configure GPIO pin : PB0 */
  GPIO_InitStruct.Pin = GPIO_PIN_0;
  GPIO_InitStruct.Mode = GPIO_MODE_AF_PP;
  GPIO_InitStruct.Pull = GPIO_NOPULL;
  GPIO_InitStruct.Speed = GPIO_SPEED_FREQ_LOW;
  GPIO_InitStruct.Alternate = GPIO_AF5_SPI1;
  HAL_GPIO_Init(GPIOB, &GPIO_InitStruct);

  /*Configure GPIO pins : PE10 PE9 */
  GPIO_InitStruct.Pin = GPIO_PIN_10|GPIO_PIN_9;
  GPIO_InitStruct.Mode = GPIO_MODE_AF_PP;
  GPIO_InitStruct.Pull = GPIO_NOPULL;
  GPIO_InitStruct.Speed = GPIO_SPEED_FREQ_LOW;
  GPIO_InitStruct.Alternate = GPIO_AF3_ADF1;
  HAL_GPIO_Init(GPIOE, &GPIO_InitStruct);

  /*Configure GPIO pins : PE12 PE14 PE13 PE11
                           PE15 */
  GPIO_InitStruct.Pin = GPIO_PIN_12|GPIO_PIN_14|GPIO_PIN_13|GPIO_PIN_11
                          |GPIO_PIN_15;
  GPIO_InitStruct.Mode = GPIO_MODE_AF_PP;
  GPIO_InitStruct.Pull = GPIO_NOPULL;
  GPIO_InitStruct.Speed = GPIO_SPEED_FREQ_VERY_HIGH;
  GPIO_InitStruct.Alternate = GPIO_AF10_OCTOSPI1;
  HAL_GPIO_Init(GPIOE, &GPIO_InitStruct);

  /*Configure GPIO pins : PC1 PC0 */
  GPIO_InitStruct.Pin = GPIO_PIN_1|GPIO_PIN_0;
  GPIO_InitStruct.Mode = GPIO_MODE_AF_OD;
  GPIO_InitStruct.Pull = GPIO_NOPULL;
  GPIO_InitStruct.Speed = GPIO_SPEED_FREQ_LOW;
  GPIO_InitStruct.Alternate = GPIO_AF4_I2C3;
  HAL_GPIO_Init(GPIOC, &GPIO_InitStruct);

  /*Configure GPIO pins : PA5 PA7 PA6 */
  GPIO_InitStruct.Pin = GPIO_PIN_5|GPIO_PIN_7|GPIO_PIN_6;
  GPIO_InitStruct.Mode = GPIO_MODE_AF_PP;
  GPIO_InitStruct.Pull = GPIO_NOPULL;
  GPIO_InitStruct.Speed = GPIO_SPEED_FREQ_LOW;
  GPIO_InitStruct.Alternate = GPIO_AF5_SPI1;
  HAL_GPIO_Init(GPIOA, &GPIO_InitStruct);

  /*Configure GPIO pin : SD_CD_Pin */
  GPIO_InitStruct.Pin = SD_CD_Pin;
  GPIO_InitStruct.Mode = GPIO_MODE_INPUT;
  GPIO_InitStruct.Pull = GPIO_NOPULL;
  HAL_GPIO_Init(SD_CD_GPIO_Port, &GPIO_InitStruct);

  /*Configure GPIO pins : PD13 PD12 */
  GPIO_InitStruct.Pin = GPIO_PIN_13|GPIO_PIN_12;
  GPIO_InitStruct.Mode = GPIO_MODE_AF_OD;
  GPIO_InitStruct.Pull = GPIO_NOPULL;
  GPIO_InitStruct.Speed = GPIO_SPEED_FREQ_LOW;
  GPIO_InitStruct.Alternate = GPIO_AF4_I2C4;
  HAL_GPIO_Init(GPIOD, &GPIO_InitStruct);

  /*Configure GPIO pins : PWR_INT_Pin TOUCH_INT_Pin HR_INT_Pin */
  GPIO_InitStruct.Pin = PWR_INT_Pin|TOUCH_INT_Pin|HR_INT_Pin;
  GPIO_InitStruct.Mode = GPIO_MODE_IT_RISING;
  GPIO_InitStruct.Pull = GPIO_NOPULL;
  HAL_GPIO_Init(GPIOD, &GPIO_InitStruct);

  /*Configure GPIO pin : PA2 */
  GPIO_InitStruct.Pin = GPIO_PIN_2;
  GPIO_InitStruct.Mode = GPIO_MODE_ANALOG;
  GPIO_InitStruct.Pull = GPIO_NOPULL;
  HAL_GPIO_Init(GPIOA, &GPIO_InitStruct);

  /*Configure GPIO pins : PB11 PB13 */
  GPIO_InitStruct.Pin = GPIO_PIN_11|GPIO_PIN_13;
  GPIO_InitStruct.Mode = GPIO_MODE_AF_OD;
  GPIO_InitStruct.Pull = GPIO_NOPULL;
  GPIO_InitStruct.Speed = GPIO_SPEED_FREQ_LOW;
  GPIO_InitStruct.Alternate = GPIO_AF4_I2C2;
  HAL_GPIO_Init(GPIOB, &GPIO_InitStruct);

  /*Configure GPIO pins : LRA_EN_Pin PWR_ENCHG_Pin */
  GPIO_InitStruct.Pin = LRA_EN_Pin|PWR_ENCHG_Pin;
  GPIO_InitStruct.Mode = GPIO_MODE_OUTPUT_PP;
  GPIO_InitStruct.Pull = GPIO_NOPULL;
  GPIO_InitStruct.Speed = GPIO_SPEED_FREQ_LOW;
  HAL_GPIO_Init(GPIOD, &GPIO_InitStruct);

  /*Configure GPIO pin : BTN_Pin */
  GPIO_InitStruct.Pin = BTN_Pin;
  GPIO_InitStruct.Mode = GPIO_MODE_IT_RISING;
  GPIO_InitStruct.Pull = GPIO_NOPULL;
  HAL_GPIO_Init(BTN_GPIO_Port, &GPIO_InitStruct);

}

void HAL_TIM_PeriodElapsedCallback(TIM_HandleTypeDef *htim)
{
  if (htim->Instance == TIM6) {
    HAL_IncTick();
  }
}

void Error_Handler(void)
{
	__disable_irq();
	while (1)
	{
	}
}
